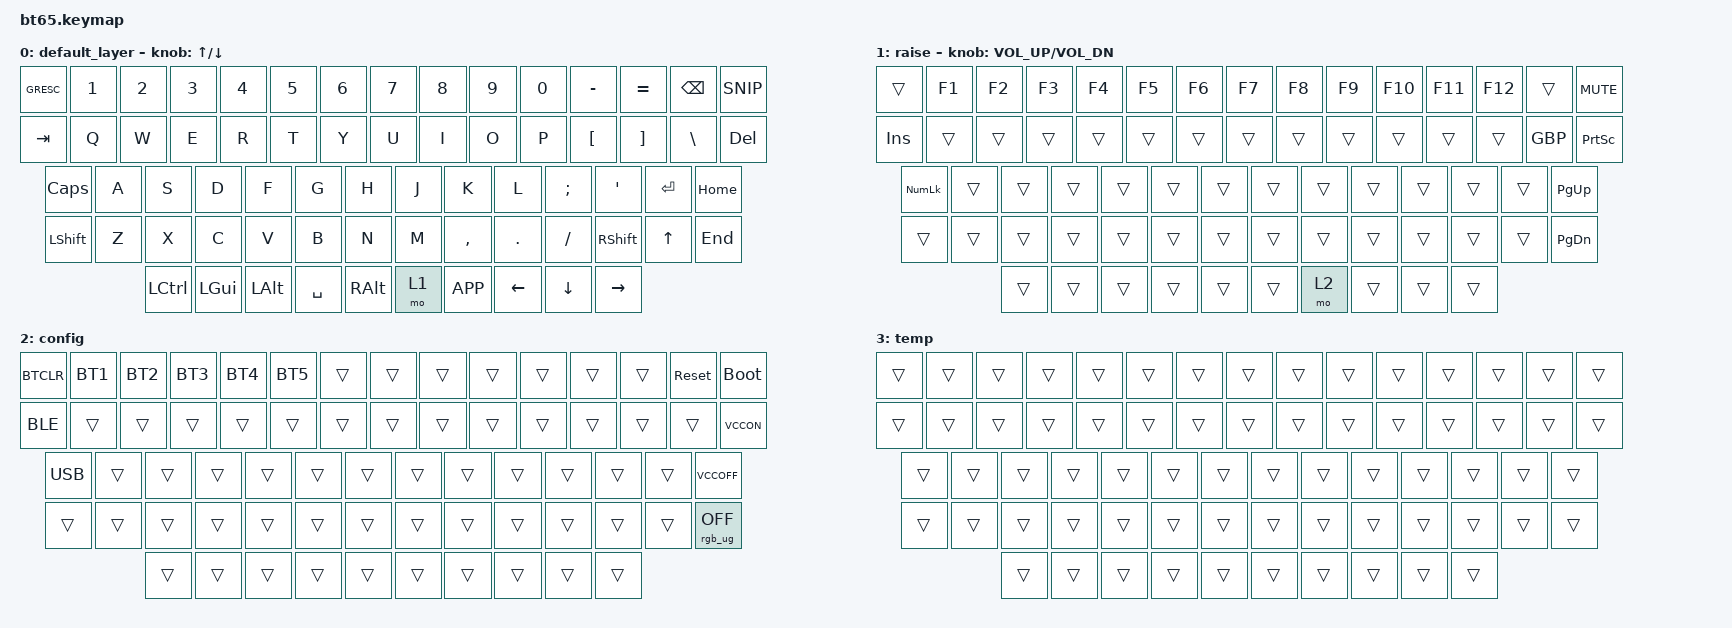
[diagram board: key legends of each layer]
#include <behaviors.dtsi>
#include <dt-bindings/zmk/keys.h>
#include <dt-bindings/zmk/bt.h>
#include <dt-bindings/zmk/rgb.h>
#include <dt-bindings/zmk/backlight.h>
#include <dt-bindings/zmk/ext_power.h>
#include <dt-bindings/zmk/outputs.h>        // Output over usb or bluetooth


/ {
    behaviors {
    //----------------------------------------------------------------------Default Layer Tap Dance
	GRESC: grave_escape {
            compatible = "zmk,behavior-mod-morph";
            label = "GRAVE_ESCAPE";
            #binding-cells = <0>;
            bindings = <&kp ESC>, <&kp NUBS>;
            mods = <(MOD_LGUI|MOD_LSFT|MOD_RGUI|MOD_RSFT)>;
        };

	COST: great_british_pound {
            compatible = "zmk,behavior-mod-morph";
            label = "GREAT_BRITISH_POUND";
            #binding-cells = <0>;
            bindings = <&kp N4>, <&GBP>;
            mods = <(MOD_LGUI|MOD_LSFT|MOD_RGUI|MOD_RSFT)>;
        };
	};

//______________________________________________________________________________________________________________________________________________________________________________
    macros {
    //----------------------------------------------------------------------
        GBP: zed_em_kay_0 {
            label = "Pound_Sign";
            compatible = "zmk,behavior-macro";
            #binding-cells = <0>;
            wait-ms = <40>;
            bindings
                = <&macro_press &kp LALT>
                , <&macro_tap &kp KP_N0>
                , <&macro_tap &kp KP_N1>
                , <&macro_tap &kp KP_N6>
                , <&macro_tap &kp KP_N3>
                , <&macro_release &kp LALT>
                ;
        };
        
        SNIP: zed_em_kay_2 {
            label = "Snip_Shortcut";
            compatible = "zmk,behavior-macro";
            #binding-cells = <0>;
            bindings
                = <&macro_press &kp LSHFT &kp LGUI>
                , <&macro_tap &kp S>
                , <&macro_release &kp LSHFT &kp LGUI>
                ;
        };
        
        
        
        //-------- Bluetooth ----------------------------------
        BT1: zed_em_kay_BT1 {
            label = "Bluetooth_1";
            compatible = "zmk,behavior-macro";
            #binding-cells = <0>;
            bindings
                = <&macro_tap &kp B &kp T &kp N1>
                , <&macro_tap &bt BT_SEL 0>
                ;
        };
        BT2: zed_em_kay_BT2 {
            label = "Bluetooth_2";
            compatible = "zmk,behavior-macro";
            #binding-cells = <0>;
            bindings
                = <&macro_tap &kp B &kp T &kp N2>
                , <&macro_tap &bt BT_SEL 1>
                ;
        };
        BT3: zed_em_kay_BT3 {
            label = "Bluetooth_3";
            compatible = "zmk,behavior-macro";
            #binding-cells = <0>;
            bindings
                = <&macro_tap &kp B &kp T &kp N3>
                , <&macro_tap &bt BT_SEL 2>
                ;
        };
        BT4: zed_em_kay_BT4 {
            label = "Bluetooth_4";
            compatible = "zmk,behavior-macro";
            #binding-cells = <0>;
            bindings
                = <&macro_tap &kp B &kp T &kp N4>
                , <&macro_tap &bt BT_SEL 3>
                ;
        };
        BT5: zed_em_kay_BT5 {
            label = "Bluetooth_5";
            compatible = "zmk,behavior-macro";
            #binding-cells = <0>;
            bindings
                = <&macro_tap &kp B &kp T &kp N5>
                , <&macro_tap &bt BT_SEL 4>
                ;
        };
        BTCLR: zed_em_kay_BTCLR {
            label = "Bluetooth_CLR";
            compatible = "zmk,behavior-macro";
            #binding-cells = <0>;
            bindings
                = <&macro_tap &kp B &kp T &kp C &kp L &kp R>
                , <&macro_tap &bt BT_CLR>
                ;
        };
        
        
        
        //-------- USB / Bluetooth ----------------------------------
        USB: zed_em_kay_USB {
            label = "USB_OUT";
            compatible = "zmk,behavior-macro";
            #binding-cells = <0>;
            bindings
                = <&macro_tap &kp U &kp S &kp B &kp UNDER &kp O &kp U &kp T>
                , <&macro_tap &out OUT_USB>
                ;
        };
        BLE: zed_em_kay_BLE {
            label = "BLE_OUT";
            compatible = "zmk,behavior-macro";
            #binding-cells = <0>;
            bindings
                = <&macro_tap &kp B &kp L &kp E &kp UNDER &kp O &kp U &kp T>
                , <&macro_tap &out OUT_BLE>
                ;
        };
        
        
        
        //-------- VCC on/off ----------------------------------
        VCCON: zed_em_kay_VCCOFF {
            label = "VCC_OFF";
            compatible = "zmk,behavior-macro";
            #binding-cells = <0>;
            bindings
                = <&macro_tap &kp V &kp C &kp C &kp UNDER &kp O &kp F &kp F>
                , <&macro_tap &ext_power EP_ON>                         // Turns limiter off (No Voltage to VCC pin)
                ;
        };
        VCCOFF: zed_em_kay_VCCON {
            label = "VCC_ON";
            compatible = "zmk,behavior-macro";
            #binding-cells = <0>;
            bindings
                = <&macro_tap &kp V &kp C &kp C &kp UNDER &kp O &kp N>
                , <&macro_tap &ext_power EP_OFF>                        // Allows power draw (3.2V Voltage to VCC pin)
                ;
        };        

    };

	keymap {
		compatible = "zmk,keymap";

		default_layer {
				// ------------------------------------------------------------------------------------------------------------
				// |  `  |  1  |  2  |  3  |  4  |  5  |  6  |  7  |  8  |  9  |  0  |  -  |  =  |BKSP | 		|
				// | TAB  |  Q  |  W  |  E  |  R  |  T  |  Y  |  U  |  I  |  O  |  P  |  [  |  ]  |   \    | DEL		|
				// | CAPS  |  A  |  S  |  D  |  F  |  G  |  H  |  J  |  K  |  L  |  ;  |  '  |     ENTER    |HOME	|
				// |  SHIFT  |  Z  |  X  |  C  |  V  |  B  |  N  |  M  |  ,  |  .  | /   |   SHIFT  | UP   | END|
				// |  CTL  |  WIN  |  ALT  |            SPACE               | ALT | 1    |  MENU| LEFT |  DOWN    | RIGHT	|
				// ------------------------------------------------------------------------------------------------------------
			bindings = <

				&GRESC   &kp N1   &kp N2 &kp N3 &kp N4 &kp N5 &kp N6 &kp N7 &kp N8    &kp N9  &kp N0   &kp MINUS &kp EQUAL   &kp BKSP  &SNIP
				&kp TAB    &kp Q    &kp W  &kp E  &kp R &kp T  &kp Y  &kp U  &kp I     &kp O   &kp P    &kp LBKT  &kp RBKT &kp BSLH   &kp DEL
				&kp CLCK    &kp A    &kp S  &kp D  &kp F &kp G  &kp H  &kp J  &kp K     &kp L   &kp SEMI &kp SQT      &kp RET         &kp HOME
				&kp LSHFT    &kp Z    &kp X  &kp C  &kp V &kp B  &kp N  &kp M  &kp COMMA &kp DOT &kp FSLH     &kp RSHFT      &kp UP   &kp END
				&kp LCTRL &kp LGUI  &kp LALT            &kp SPACE                         &kp RALT  &mo 1 &kp K_APP &kp LEFT &kp DOWN &kp RIGHT
			>;
			sensor-bindings = <&inc_dec_kp UP DOWN>;
		};
		raise {
			bindings = <
				&trans      &kp F1 &kp F2 &kp F3 &kp F4 &kp F5 &kp F6 &kp F7 &kp F8 &kp F9 &kp F10  &kp F11 &kp F12 &trans &kp C_MUTE
				&kp INS       &trans &trans &trans &trans &trans &trans &trans &trans &trans &trans &trans &trans   &GBP     &kp PSCRN
				&kp KP_NLCK    &trans &trans &trans &trans &trans &trans &trans &trans &trans &trans  &trans    &trans     &kp PG_UP
				&trans          &trans &trans &trans &trans &trans &trans &trans &trans &trans &trans     &trans    &trans &kp PG_DN
				&trans       &trans  &trans              &trans                         &trans &trans &mo 2  &trans &trans &trans
			>;
			sensor-bindings = <&inc_dec_kp C_VOL_UP C_VOL_DN>;
		};
		config {
			bindings = <
				&BTCLR &BT1   &BT2   &BT3   &BT4   &BT5   &trans &trans &trans &trans &trans &trans &trans   &sys_reset   &bootloader
				&BLE     &trans &trans &trans &trans &trans &trans &trans &trans &trans &trans &trans &trans   &trans     &VCCON
				&USB      &trans &trans &trans &trans &trans &trans &trans &trans &trans &trans  &trans    &trans         &VCCOFF
				&trans     &trans &trans &trans &trans &trans &trans &trans &trans &trans &trans     &trans    &trans     &rgb_ug RGB_OFF
				&trans  &trans  &trans              &trans                         &trans &trans &trans &trans &trans     &trans
			>;
			//sensor-bindings = <&inc_dec_kp trans trans>;
		};
		temp {
			bindings = <
				&trans &trans &trans &trans &trans &trans &trans &trans &trans &trans &trans &trans &trans   &trans   &trans
				&trans   &trans &trans &trans &trans &trans &trans &trans &trans &trans &trans &trans &trans   &trans &trans
				&trans    &trans &trans &trans &trans &trans &trans &trans &trans &trans &trans  &trans    &trans     &trans
				&trans     &trans &trans &trans &trans &trans &trans &trans &trans &trans &trans     &trans    &trans &trans
				&trans  &trans  &trans              &trans                         &trans &trans &trans &trans &trans &trans
			>;
			//sensor-bindings = <&inc_dec_kp trans trans>;
		};
	};
};
